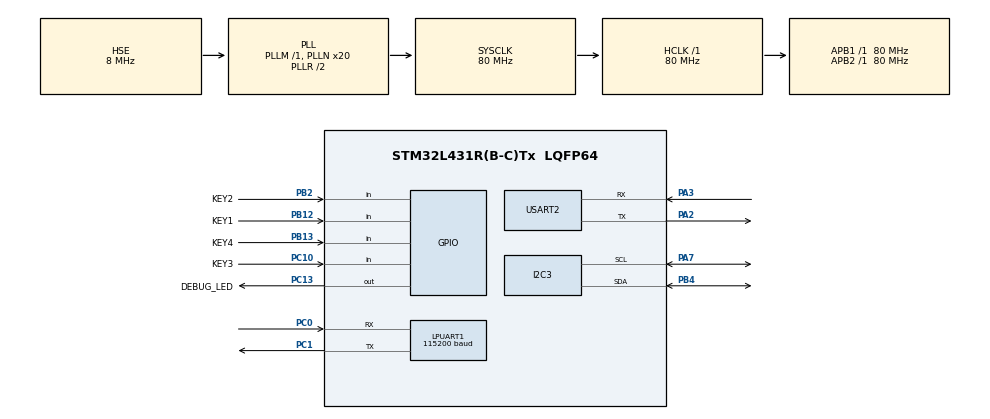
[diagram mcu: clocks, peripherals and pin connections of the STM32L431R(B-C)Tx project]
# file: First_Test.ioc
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I2C3.Timing=0x10909CEC
LPUART1.BaudRate=115200
LPUART1.WordLength=UART_WORDLENGTH_8B
Mcu.Family=STM32L4
Mcu.Name=STM32L431R(B-C)Tx
Mcu.Package=LQFP64
NVIC.LPUART1_IRQn=true\:0\:0\:false\:false\:true\:true\:true
NVIC.PriorityGroup=NVIC_PRIORITYGROUP_4
PA13\ (JTMS-SWDIO).Mode=Serial_Wire
PA13\ (JTMS-SWDIO).Signal=SYS_JTMS-SWDIO
PA14\ (JTCK-SWCLK).Mode=Serial_Wire
PA14\ (JTCK-SWCLK).Signal=SYS_JTCK-SWCLK
PA2.Mode=Asynchronous
PA2.Signal=USART2_TX
PA3.Mode=Asynchronous
PA3.Signal=USART2_RX
PA7.Mode=I2C
PA7.Signal=I2C3_SCL
PB12.GPIO_Label=KEY1
PB12.GPIO_PuPd=GPIO_PULLUP
PB12.Signal=GPIO_Input
PB13.GPIO_Label=KEY4
PB13.GPIO_PuPd=GPIO_PULLUP
PB13.Signal=GPIO_Input
PB2.GPIO_Label=KEY2
PB2.GPIO_PuPd=GPIO_PULLUP
PB2.Signal=GPIO_Input
PB4\ (NJTRST).Mode=I2C
PB4\ (NJTRST).Signal=I2C3_SDA
PC0.Mode=Asynchronous
PC0.Signal=LPUART1_RX
PC1.Mode=Asynchronous
PC1.Signal=LPUART1_TX
PC10.GPIO_Label=KEY3
PC10.GPIO_PuPd=GPIO_PULLUP
PC10.Signal=GPIO_Input
PC13.GPIO_Label=DEBUG_LED
PC13.Signal=GPIO_Output
PC14-OSC32_IN\ (PC14).Mode=LSE-External-Oscillator
PC14-OSC32_IN\ (PC14).Signal=RCC_OSC32_IN
PC15-OSC32_OUT\ (PC15).Mode=LSE-External-Oscillator
PC15-OSC32_OUT\ (PC15).Signal=RCC_OSC32_OUT
PH0-OSC_IN\ (PH0).Mode=HSE-External-Oscillator
PH0-OSC_IN\ (PH0).Signal=RCC_OSC_IN
PH1-OSC_OUT\ (PH1).Mode=HSE-External-Oscillator
PH1-OSC_OUT\ (PH1).Signal=RCC_OSC_OUT
ProjectManager.HeapSize=0x200
ProjectManager.StackSize=0x400
ProjectManager.TargetToolchain=MDK-ARM V5
RCC.ADCFreq_Value=32000000
RCC.AHBFreq_Value=80000000
RCC.APB1Freq_Value=80000000
RCC.APB1TimFreq_Value=80000000
RCC.APB2Freq_Value=80000000
RCC.APB2TimFreq_Value=80000000
RCC.CortexFreq_Value=80000000
RCC.HCLKFreq_Value=80000000
RCC.HSE_VALUE=8000000
RCC.HSI48_VALUE=48000000
RCC.HSI_VALUE=16000000
RCC.MSI_VALUE=4000000
RCC.PLLN=20
RCC.PLLSourceVirtual=RCC_PLLSOURCE_HSE
RCC.SYSCLKFreq_VALUE=80000000
RCC.SYSCLKSource=RCC_SYSCLKSOURCE_PLLCLK
RCC.VCOOutputFreq_Value=160000000
USART2.VirtualMode-Asynchronous=VM_ASYNC
board=custom

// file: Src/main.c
/* USER CODE BEGIN Header */
/**
  ******************************************************************************
  * @file           : main.c
  * @brief          : Main program body
  ******************************************************************************
  * @attention
  *
  * <h2><center>&copy; Copyright (c) 2020 STMicroelectronics.
  * All rights reserved.</center></h2>
  *
  * This software component is licensed by ST under BSD 3-Clause license,
  * the "License"; You may not use this file except in compliance with the
  * License. You may obtain a copy of the License at:
  *                        opensource.org/licenses/BSD-3-Clause
  *
  ******************************************************************************
  */
/* USER CODE END Header */

#include "main.h"
#include "i2c.h"
#include "usart.h"
#include "gpio.h"

/* USER CODE BEGIN Includes */
#include "cmsis_os.h"
#include "oled.h"
/* USER CODE END Includes */

/* USER CODE BEGIN PD */
#define STK_SIZE_TASK_RECEIVER      512
#define STK_SIZE_TASK_SENDER        512

#define PRIO_TASK_RECEIVER_HIGHER_PRIO      4
#define PRIO_TASK_RECEIVER_LOWER_PRIO       (PRIO_TASK_RECEIVER_HIGHER_PRIO + 1)

#define MESSAGE_MAX     10
/* USER CODE END PD */

/* USER CODE BEGIN PV */

k_stack_t stack_task_receiver_higher_prio[STK_SIZE_TASK_RECEIVER];
k_stack_t stack_task_receiver_lower_prio[STK_SIZE_TASK_RECEIVER];
k_stack_t stack_task_sender[STK_SIZE_TASK_SENDER];

uint8_t msg_pool[MESSAGE_MAX * sizeof(void *)];

k_task_t task_receiver_higher_prio;
k_task_t task_receiver_lower_prio;
k_task_t task_sender;

k_msg_q_t msg_q;

extern void entry_task_receiver_higher_prio(void *arg);
extern void entry_task_receiver_lower_prio(void *arg);
/* USER CODE END PV */

void SystemClock_Config(void);

/* USER CODE BEGIN 0 */
void entry_task_receiver_higher_prio(void *arg)
{
    k_err_t err;
    void *msg_received;

    while (K_TRUE)
    {
        err = tos_msg_q_pend(&msg_q, &msg_received, TOS_TIME_FOREVER);

        if (err == K_ERR_NONE)
        {
            printf("higher: msg incoming[%s]\n", (char *)msg_received);
        }
    }
}

void entry_task_receiver_lower_prio(void *arg)
{
    k_err_t err;
    void *msg_received;

    while (K_TRUE)
    {
        err = tos_msg_q_pend(&msg_q, &msg_received, TOS_TIME_FOREVER);

        if (err == K_ERR_NONE)
        {
            printf("lower: msg incoming[%s]\n", (char *)msg_received);
        }
    }
}

void entry_task_sender(void *arg)
{
    int i = 1;
    char *msg_to_one_receiver = "message for one receiver(with highest priority)";
    char *msg_to_all_receiver = "message for all receivers";

    while (K_TRUE)
    {
        if (i == 2)
        {
            printf("sender: send a message to one receiver, and shoud be the highest priority one\n");
            tos_msg_q_post(&msg_q, msg_to_one_receiver);
        }

        if (i == 3)
        {
            printf("sender: send a message to all recevier\n");
            tos_msg_q_post_all(&msg_q, msg_to_all_receiver);
        }

        if (i == 4)
        {
            printf("sender: send a message to one receiver, and shoud be the highest priority one\n");
            tos_msg_q_post(&msg_q, msg_to_one_receiver);
        }

        if (i == 5)
        {
            printf("sender: send a message to all recevier\n");
            tos_msg_q_post_all(&msg_q, msg_to_all_receiver);
        }

        tos_task_delay(1000);
        ++i;
    }
}
/* USER CODE END 0 */

int main(void)
{

  /* MCU Configuration--------------------------------------------------------*/

  /* Reset of all peripherals, Initializes the Flash interface and the Systick. */
  HAL_Init();

  /* Configure the system clock */
  SystemClock_Config();

  /* Initialize all configured peripherals */
  MX_GPIO_Init();
  MX_USART2_UART_Init();
  MX_I2C3_Init();
  MX_LPUART1_UART_Init();
  /* USER CODE BEGIN 2 */
    OLED_Init();
    OLED_Clear();
    OLED_ShowString(0, 0, (uint8_t*)"TencentOS tiny", 16);
    OLED_ShowString(0, 2, (uint8_t*)"Bruce.yang", 16);
    //��ʼ���ں�
    osKernelInitialize();
    tos_msg_q_create(&msg_q, msg_pool, MESSAGE_MAX);
    (void)tos_task_create(&task_receiver_higher_prio, "receiver_higher_prio",
                          entry_task_receiver_higher_prio, NULL, PRIO_TASK_RECEIVER_HIGHER_PRIO,
                          stack_task_receiver_higher_prio, STK_SIZE_TASK_RECEIVER, 0);
    (void)tos_task_create(&task_receiver_lower_prio, "receiver_lower_prio",
                          entry_task_receiver_lower_prio, NULL, PRIO_TASK_RECEIVER_LOWER_PRIO,
                          stack_task_receiver_lower_prio, STK_SIZE_TASK_RECEIVER, 0);
    (void)tos_task_create(&task_sender, "sender", entry_task_sender, NULL,
                          4, stack_task_sender, STK_SIZE_TASK_SENDER, 0);
    //�����ں�
    osKernelStart();
  /* USER CODE END 2 */

  /* Infinite loop */
    while (1)
    {

    }
}

void SystemClock_Config(void)
{
  RCC_OscInitTypeDef RCC_OscInitStruct = {0};
  RCC_ClkInitTypeDef RCC_ClkInitStruct = {0};
  RCC_PeriphCLKInitTypeDef PeriphClkInit = {0};

  /** Initializes the CPU, AHB and APB busses clocks
  */
  RCC_OscInitStruct.OscillatorType = RCC_OSCILLATORTYPE_HSE;
  RCC_OscInitStruct.HSEState = RCC_HSE_ON;
  RCC_OscInitStruct.PLL.PLLState = RCC_PLL_ON;
  RCC_OscInitStruct.PLL.PLLSource = RCC_PLLSOURCE_HSE;
  RCC_OscInitStruct.PLL.PLLM = 1;
  RCC_OscInitStruct.PLL.PLLN = 20;
  RCC_OscInitStruct.PLL.PLLP = RCC_PLLP_DIV7;
  RCC_OscInitStruct.PLL.PLLQ = RCC_PLLQ_DIV2;
  RCC_OscInitStruct.PLL.PLLR = RCC_PLLR_DIV2;
  if (HAL_RCC_OscConfig(&RCC_OscInitStruct) != HAL_OK)
  {
    Error_Handler();
  }
  /** Initializes the CPU, AHB and APB busses clocks
  */
  RCC_ClkInitStruct.ClockType = RCC_CLOCKTYPE_HCLK|RCC_CLOCKTYPE_SYSCLK
                              |RCC_CLOCKTYPE_PCLK1|RCC_CLOCKTYPE_PCLK2;
  RCC_ClkInitStruct.SYSCLKSource = RCC_SYSCLKSOURCE_PLLCLK;
  RCC_ClkInitStruct.AHBCLKDivider = RCC_SYSCLK_DIV1;
  RCC_ClkInitStruct.APB1CLKDivider = RCC_HCLK_DIV1;
  RCC_ClkInitStruct.APB2CLKDivider = RCC_HCLK_DIV1;

  if (HAL_RCC_ClockConfig(&RCC_ClkInitStruct, FLASH_LATENCY_4) != HAL_OK)
  {
    Error_Handler();
  }
  PeriphClkInit.PeriphClockSelection = RCC_PERIPHCLK_USART2|RCC_PERIPHCLK_LPUART1
                              |RCC_PERIPHCLK_I2C3;
  PeriphClkInit.Usart2ClockSelection = RCC_USART2CLKSOURCE_PCLK1;
  PeriphClkInit.Lpuart1ClockSelection = RCC_LPUART1CLKSOURCE_PCLK1;
  PeriphClkInit.I2c3ClockSelection = RCC_I2C3CLKSOURCE_PCLK1;
  if (HAL_RCCEx_PeriphCLKConfig(&PeriphClkInit) != HAL_OK)
  {
    Error_Handler();
  }
  /** Configure the main internal regulator output voltage
  */
  if (HAL_PWREx_ControlVoltageScaling(PWR_REGULATOR_VOLTAGE_SCALE1) != HAL_OK)
  {
    Error_Handler();
  }
}

void Error_Handler(void)
{
}

/************************ (C) COPYRIGHT STMicroelectronics *****END OF FILE****/
